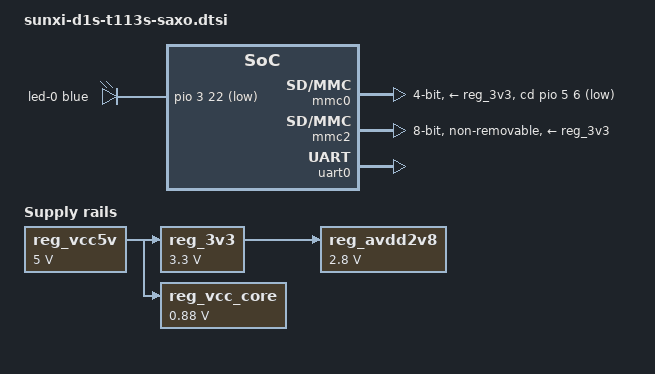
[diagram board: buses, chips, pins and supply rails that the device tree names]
// SPDX-License-Identifier: (GPL-2.0+ OR MIT)
/*
 * Common peripherals and configurations for T113 SAXO boards.
 */

#include <dt-bindings/gpio/gpio.h>
#include <dt-bindings/leds/common.h>

/ {
	aliases {
		serial0 = &uart0;
		serial1 = &uart1;
		serial3 = &uart3;
		serial4 = &uart4;		
	};

	chosen {
		stdout-path = "serial0:115200n8";
	};

	leds {
		compatible = "gpio-leds";

		led-0 {
			color = <LED_COLOR_ID_BLUE>;
			function = LED_FUNCTION_STATUS;
			gpios = <&pio 3 22 GPIO_ACTIVE_LOW>; /* PD22 */
		};
	};

	/* board wide 5V supply directly from the USB-C socket */
	reg_vcc5v: regulator-5v {
		compatible = "regulator-fixed";
		regulator-name = "vcc-5v";
		regulator-min-microvolt = <5000000>;
		regulator-max-microvolt = <5000000>;
		regulator-always-on;
	};

	/* SY8008 DC/DC regulator on the board */
	reg_3v3: regulator-3v3 {
		compatible = "regulator-fixed";
		regulator-name = "vcc-3v3";
		regulator-min-microvolt = <3300000>;
		regulator-max-microvolt = <3300000>;
		vin-supply = <&reg_vcc5v>;
	};

	/* SY8008 DC/DC regulator on the board, also supplying VDD-SYS */
	reg_vcc_core: regulator-core {
		compatible = "regulator-fixed";
		regulator-name = "vcc-core";
		regulator-min-microvolt = <880000>;
		regulator-max-microvolt = <880000>;
		vin-supply = <&reg_vcc5v>;
	};

	/* XC6206 LDO on the board */
	reg_avdd2v8: regulator-avdd {
		compatible = "regulator-fixed";
		regulator-name = "avdd2v8";
		regulator-min-microvolt = <2800000>;
		regulator-max-microvolt = <2800000>;
		vin-supply = <&reg_3v3>;
	};
};

&dcxo {
	clock-frequency = <24000000>;
};


&mmc0 {
	pinctrl-0 = <&mmc0_pins>;
	pinctrl-names = "default";
	vmmc-supply = <&reg_3v3>;
	cd-gpios = <&pio 5 6 GPIO_ACTIVE_LOW>;
	disable-wp;
	bus-width = <4>;
	status = "okay";
};


&mmc2 {
	pinctrl-names = "default";
	pinctrl-0 = <&mmc2_pins>;
	vmmc-supply = <&reg_3v3>;
	bus-width = <8>;
	non-removable;
	cap-mmc-hw-reset;
	status = "okay";
};

&pio {
	vcc-pb-supply = <&reg_3v3>;
	vcc-pd-supply = <&reg_3v3>;
	vcc-pe-supply = <&reg_avdd2v8>;
	vcc-pf-supply = <&reg_3v3>;
	vcc-pg-supply = <&reg_3v3>;
};

&uart0 {        
        pinctrl-names = "default";
        pinctrl-0 = <&uart0_pe2_pins>;
        status = "okay";
};


&uart3 {        
        pinctrl-names = "default";
        pinctrl-0 = <&uart3_pb_pins>;
        status = "disabled";
};

